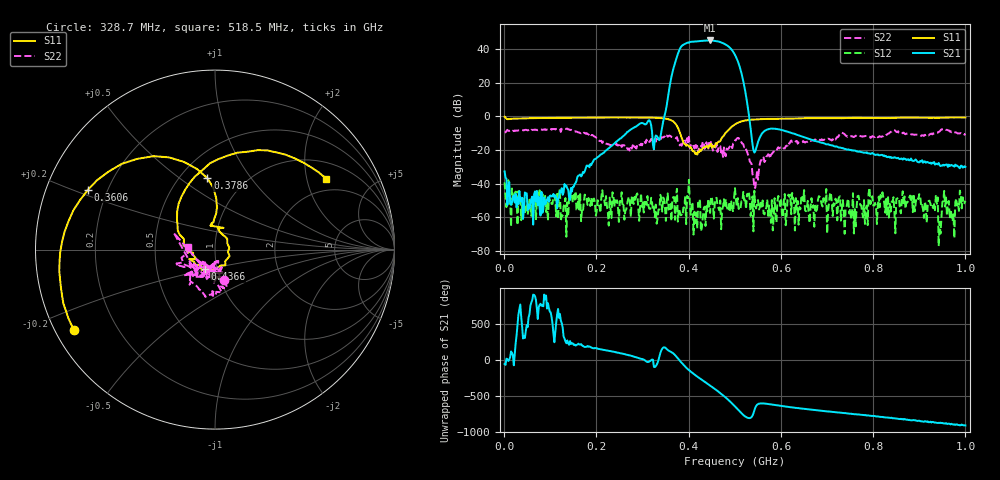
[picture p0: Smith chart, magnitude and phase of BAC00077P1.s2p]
!measured: 2026-10-27T14:59:37
!cal_instance: BBtestOct27
!cal_created: 2026-10-27T14:45
!cal_file: BBtesting.cal
!port1_delay_ps: -58.63
!port2_delay_ps: -59.31
!host: dhcp-10-250-247-203.harvard.edu
! Created with skrf 2.1.0 (http://scikit-rf.org).
# Hz S RI R 50.0
!freq ReS11 ImS11 ReS21 ImS21 ReS12 ImS12 ReS22 ImS22
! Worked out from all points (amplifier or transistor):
!   501 points, 1 MHz to 1 GHz, reference 50 ohm
!   highest |S21| = 45.0 dB at 446.6 MHz (marker M1)
!   |S21| within 3 dB of that: 386.1 MHz to 483.6 MHz (97.51 MHz wide, 22.4 % of centre)
!   unconditionally stable (mu >= 1): start of sweep to 399.2 MHz; 401.4 MHz to end of sweep
!   at 166.8 MHz: K = 6111.26, MAG = -27.6 dB, |S12| = -62.2 dB
!   at 500.5 MHz: K = 1.01, MAG = 38.8 dB, |S12| = -42.6 dB
!   at 1 GHz: K = 704.58, MAG = -21.4 dB, |S12| = -50.1 dB
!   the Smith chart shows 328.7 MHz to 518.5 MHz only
!   S11 on the Smith chart (normalised r, x): 328.7 MHz: 0.05, -0.27; 360.6 MHz: 0.13, +0.22; 378.6 MHz: 0.67, +0.64; 436.6 MHz: 0.87, -0.19; 518.5 MHz: 1.54, +2.63
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1000000  -0.3583 0.8999  0.0122 -0.0197  -0.0104 0.00393  0.319 -0.0793
1.68832e8  0.5043 -0.7566  -0.0168 -0.00608  0.000864 -0.00141  -0.0265 -0.3249
3.28672e8  -0.7853 -0.45  0.00459 -0.27  -0.000801 -0.00226  0.0516 -0.1689
3.34666e8  -0.8297 -0.3433  0.2076 -0.0044  0.000173 0.00168  0.043 -0.2114
3.6064e8  -0.7073 0.3341  -4.235 9.853  0.00159 0.00194  -0.0573 -0.2551
3.78622e8  -0.0426 0.3981  84.38 4.461  -0.00176 0.000365  -0.0986 -0.144
3.84616e8  0.0109 0.2356  92.6 -77.73  0.00121 -2.66e-06  -0.1147 -0.0709
3.92608e8  -0.0197 0.147  -12.8 -141.8  0.0024 -0.00371  -0.1225 -0.1479
4.006e8  0.0479 0.121  -118.4 -95.23  -0.00693 -0.0111  -0.2288 0.0926
4.08592e8  0.0418 0.0833  -163.1 13.41  -0.00246 6.01e-05  -0.0191 -0.126
4.22578e8  0.0568 -0.0645  -56.4 161.2  -0.000513 -0.00191  -0.0216 -0.1313
4.36564e8  -0.0563 -0.1088  120 129.6  0.000185 0.00053  -0.0282 -0.1237
4.46554e8  -0.1176 -0.0682  178.1 7.833  0.00114 0.000735  -0.0382 -0.1289
4.62538e8  -0.1644 0.0165  52.08 -159.9  0.00215 0.000767  -0.06 -0.0639
4.7053e8  -0.1971 0.084  -56.83 -145  0.000309 0.000325  -0.0133 -0.0832
4.78522e8  -0.2106 0.2138  -123.8 -63.18  -0.000398 0.00189  -0.00975 -0.0714
4.9051e8  -0.0688 0.4438  -77.03 70.74  0.00138 -0.000667  -0.0614 -0.1176
5.005e8  0.1829 0.5456  19.65 63.24  0.00681 0.00283  -0.1766 -0.0808
5.18482e8  0.6203 0.394  7.66 -7.923  -0.00367 0.00443  -0.1484 0.0159
6.68332e8  0.1155 -0.8718  0.1776 0.0875  0.000678 0.00188  0.0288 -0.1892
8.34166e8  -0.5578 -0.7004  0.00598 -0.0637  0.000836 -0.000532  -0.1819 -0.2516
1e9  -0.8719 -0.2919  -0.0312 0.00592  -0.00285 -0.00129  -0.2555 -0.1695
